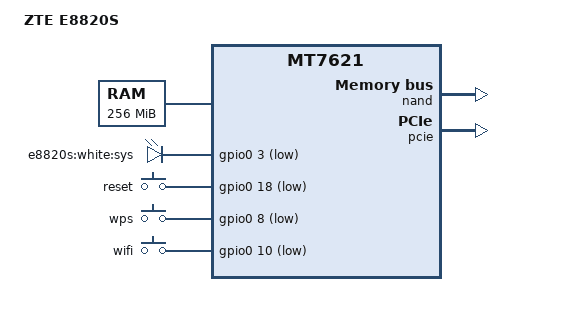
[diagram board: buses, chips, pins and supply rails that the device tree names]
/dts-v1/;

#include "mt7621.dtsi"

#include <dt-bindings/gpio/gpio.h>
#include <dt-bindings/input/input.h>

/ {
	compatible = "zte,e8820s", "mediatek,mt7621-soc";
	model = "ZTE E8820S";

	aliases {
		led-boot = &led_sys;
		led-failsafe = &led_sys;
		led-running = &led_sys;
		led-upgrade = &led_sys;
	};

	memory@0 {
		device_type = "memory";
		reg = <0x0 0x10000000>;
	};

	chosen {
		bootargs = "console=ttyS0,115200";
	};

	leds {
		compatible = "gpio-leds";

		led_sys: sys {
			label = "e8820s:white:sys";
			gpios = <&gpio0 3 GPIO_ACTIVE_LOW>;
		};

	};

	keys {
		compatible = "gpio-keys-polled";
		poll-interval = <20>;

		reset {
			label = "reset";
			gpios = <&gpio0 18 GPIO_ACTIVE_LOW>;
			linux,code = <KEY_RESTART>;
		};

		wps {
			label = "wps";
			gpios = <&gpio0 8 GPIO_ACTIVE_LOW>;
			linux,code = <KEY_WPS_BUTTON>;
		};

		wifi {
			label = "wifi";
			gpios = <&gpio0 10 GPIO_ACTIVE_LOW>;
			linux,code = <KEY_RFKILL>;
		};
	
	};
};

&nand {
	status = "okay";

	partitions {
		compatible = "fixed-partitions";
		#address-cells = <1>;
		#size-cells = <1>;

		partition@0 {
			label = "u-boot";
			reg = <0x0 0x80000>;
			read-only;
		};

		partition@80000 {
			label = "u-boot-env";
			reg = <0x80000 0x80000>;
			read-only;
		};

		factory: partition@100000 {
			label = "factory";
			reg = <0x100000 0x40000>;
			read-only;
		};

		partition@140000 {
			label = "kernel";
			reg = <0x140000 0x400000>;
		};

		partition@540000 {
			label = "ubi";
			reg = <0x540000 0x7A00000>;
		};
	};
};

&pcie {
	status = "okay";
};

&pcie0 {
	mt76@0,0 {
		reg = <0x0000 0 0 0 0>;
		mediatek,mtd-eeprom = <&factory 0x0000>;
		ieee80211-freq-limit = <2400000 2500000>;
		led {
			led-active-low;
		};
	};
};

&pcie1 {
	mt76@0,0 {
		reg = <0x0000 0 0 0 0>;
		mediatek,mtd-eeprom = <&factory 0x8000>;
		ieee80211-freq-limit = <5000000 6000000>;
		led {
			led-sources = <2>;
			led-active-low;
		};
	};
};

&ethernet {
	mtd-mac-address = <&factory 0xe000>;
};

&pinctrl {
	state_default: pinctrl0 {
		gpio {
			ralink,group = "i2c", "uart2", "uart3", "wdt";
			ralink,function = "gpio";
		};
	};
};
